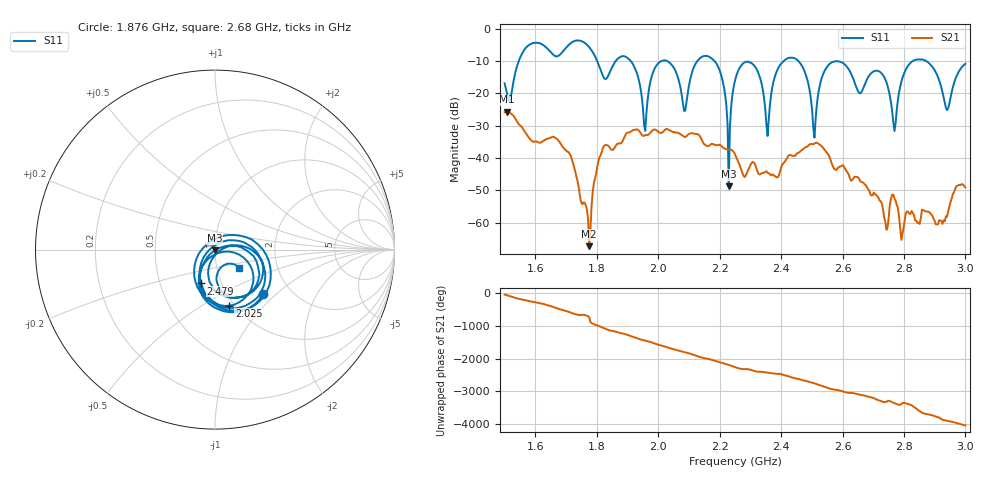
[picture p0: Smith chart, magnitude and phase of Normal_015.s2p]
# HZ S RI R 50
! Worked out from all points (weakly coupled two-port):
!   404 points, 1.5 GHz to 3 GHz, reference 50 ohm
!   highest |S21| = -25.66 dB at 1.507 GHz (marker M1); lowest = -67.3 dB at 1.775 GHz (marker M2)
!   lowest |S11| = -48.8 dB at 2.23 GHz (marker M3), VSWR 1.01, Z = 49.9 - j0.358 ohm
!   |S11| at or under -10 dB: 2.183 GHz to 2.408 GHz (225.1 MHz wide, 9.8 % of centre); 2.457 GHz to 2.828 GHz (371.8 MHz wide, 14.1 % of centre); 2.872 GHz to end of sweep (the widest 3 of 7)
!   S12 and S22 are empty: the file has one direction only
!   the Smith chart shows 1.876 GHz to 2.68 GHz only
!   S11 on the Smith chart (normalised r, x): 1.876 GHz: 1.46, -0.83; 2.025 GHz: 0.95, -0.66; 2.479 GHz: 0.80, -0.32; 2.68 GHz: 1.27, -0.26
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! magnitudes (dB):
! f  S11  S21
! 1.5 GHz  -16.9  -25.8
! 1.507 GHz  -19.8  -25.7
! 1.753 GHz  -3.9  -54.3
! 1.775 GHz  -5.7  -67.3
! 1.816 GHz  -13.8  -38.1
! 1.876 GHz  -8.8  -35.5
! 1.958 GHz  -31.6  -32.9
! 2.002 GHz  -10.5  -32.1
! 2.025 GHz  -9.8  -31.1
! 2.084 GHz  -25.5  -33.4
! 2.181 GHz  -9.8  -35.8
! 2.23 GHz  -48.8  -37.4
! 2.252 GHz  -15.4  -39.3
! 2.311 GHz  -11.3  -41.4
! 2.356 GHz  -33.2  -44.6
! 2.401 GHz  -10.8  -42.9
! 2.479 GHz  -13.8  -36.7
! 2.501 GHz  -25.5  -35.7
! 2.565 GHz  -10.4  -41.6
! 2.68 GHz  -15.6  -49.1
! 2.751 GHz  -19.2  -58.1
! 3 GHz  -10.8  -49.1
